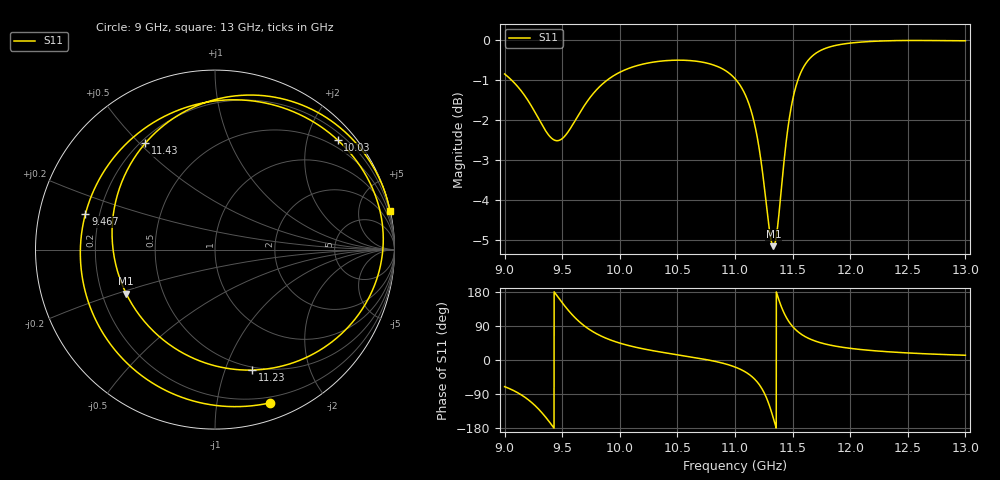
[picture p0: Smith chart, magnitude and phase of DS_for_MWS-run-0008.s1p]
! TOUCHSTONE file generated by CST DESIGN STUDIO
! Date and time: Tue Feb  4 13:04:48 2025
! Project name: C:\Work\MatlabApps\UnitCellOptimizationMatlab\CST\unitcell.cst
! Tree item: Tasks\Sweep1\SPara1\S-Parameters
! Header version: 2024
! Port assignment regex: !\s*Touchstone port\s*([0-9]+)\s*=\s*(CST MWS port|CST DES external port|CST DES block port)\s*(.+)\s* \(\"(.*)\"\)(\s*mode\s*([0-9]+))?.*
! Touchstone port assignment:
! Touchstone port 1 = CST DES external port 1 ("")
# GHz S MA R 50
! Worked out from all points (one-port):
!   4001 points, 9 GHz to 13 GHz, reference 50 ohm
!   lowest |S11| = -5.2 dB at 11.33 GHz (marker M1), VSWR 3.47, Z = 15.1 - j10.7 ohm
!   |S11| at or under -10 dB: nowhere
!   S11 on the Smith chart (normalised r, x): 9 GHz: 0.15, -1.41; 9.467 GHz: 0.15, +0.13; 10.03 GHz: 0.34, +2.59; 11.23 GHz: 0.47, -1.24; 11.43 GHz: 0.22, +0.52; 13 GHz: 0.07, +9.10
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9  0.9074 -70.3
9.149  0.8623 -92.8
9.254  0.8172 -117.4
9.375  0.7632 -158.0
9.467  0.7488 164.6
9.5  0.7531 151.2
9.589  0.783 118.7
9.683  0.8243 92.2
9.831  0.8765 64.2
10  0.9118 44.6
10.033  0.9166 41.7
10.5  0.9442 13.8
10.803  0.9321 -2.0
11  0.8951 -18.5
11.131  0.824 -39.9
11.228  0.7025 -72.8
11.282  0.6052 -106.5
11.333  0.5522 -153.6
11.377  0.5969 162.2
11.427  0.7085 123.3
11.461  0.7794 104.5
11.5  0.8417 88.4
11.584  0.9191 66.3
11.683  0.9587 51.5
11.815  0.9802 40.0
12  0.9918 30.8
12.5  0.9993 18.6
13  0.9984 12.5
